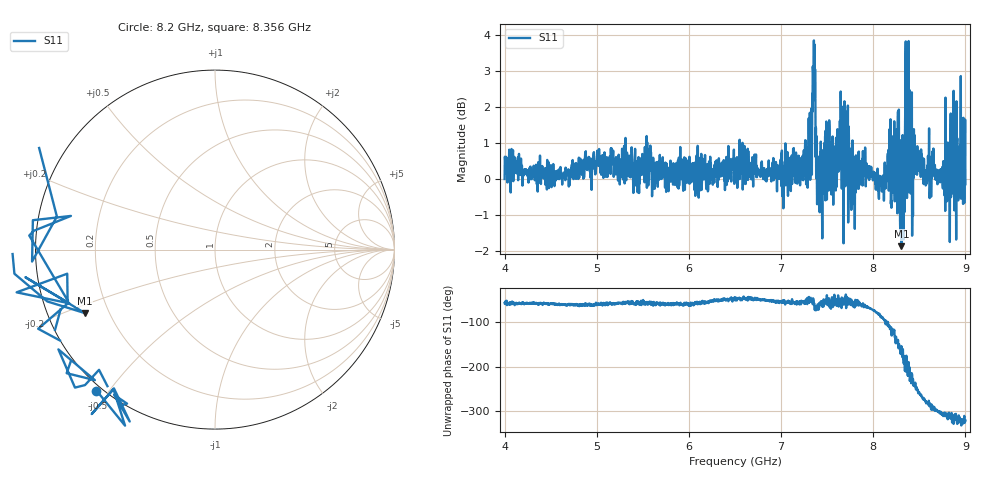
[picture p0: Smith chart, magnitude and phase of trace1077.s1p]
! Created with skrf 1.8.0 (http://scikit-rf.org).
# Hz S RI R 50.0
!freq ReS11 ImS11
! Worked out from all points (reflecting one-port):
!   1601 points, 4 GHz to 9 GHz, reference 50 ohm
!   lowest |S11| = -1.9 dB at 8.306 GHz (marker M1), VSWR 9.34, Z = 5.64 - j11.4 ohm
!   phase of S11 starts at -56 deg and turns -266 deg over the sweep
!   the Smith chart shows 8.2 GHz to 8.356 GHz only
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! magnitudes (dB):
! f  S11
! 4 GHz  0.0
! 4.625 GHz  -0.2
! 5.25 GHz  -0.2
! 5.875 GHz  0.0
! 6.5 GHz  0.3
! 7.125 GHz  0.3
! 7.309 GHz  0.9
! 7.353 GHz  2.6
! 7.369 GHz  3.0
! 7.397 GHz  0.3
! 7.425 GHz  0.7
! 7.509 GHz  0.3
! 7.588 GHz  0.2
! 7.65 GHz  1.5
! 7.75 GHz  0.1
! 8.081 GHz  0.1
! 8.262 GHz  -1.0
! 8.306 GHz  -1.9
! 8.316 GHz  1.0
! 8.334 GHz  0.2
! 8.347 GHz  1.8
! 8.375 GHz  1.2
! 8.384 GHz  3.8
! 8.447 GHz  1.2
! 8.466 GHz  0.1
! 8.756 GHz  -0.3
! 8.956 GHz  -0.2
! 9 GHz  -0.1
